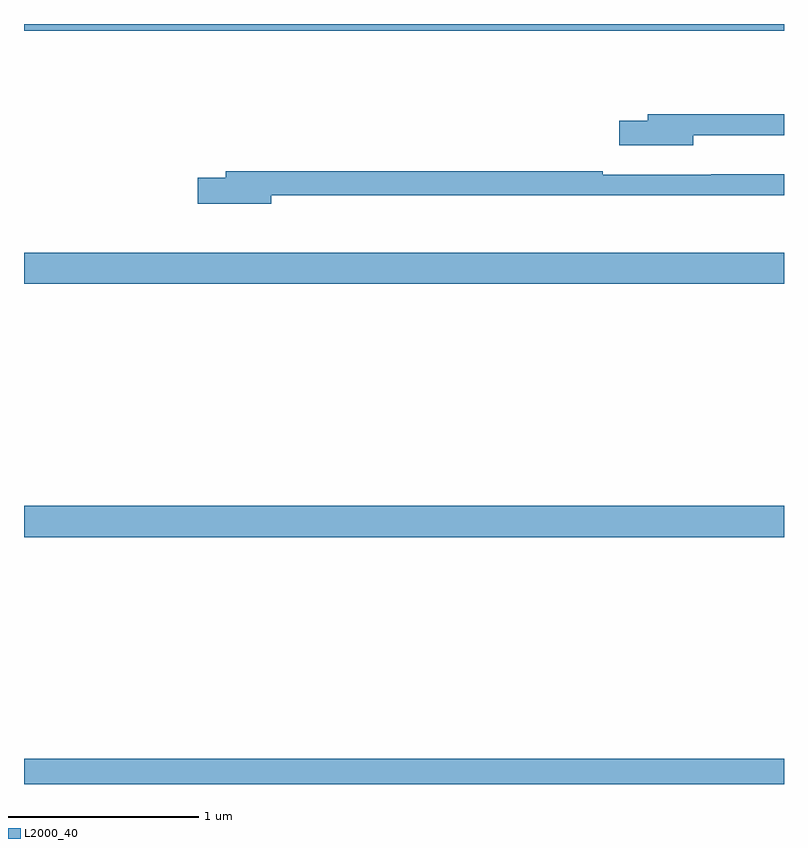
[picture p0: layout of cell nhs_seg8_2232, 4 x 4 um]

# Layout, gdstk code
import gdstk
lib = gdstk.Library(unit=1e-6, precision=1e-09)
def R(c, l, rs):  # rectangles x0, y0, x1, y1
    for r in rs: c.add(gdstk.rectangle(r[:2], r[2:], *l))
def P(c, l, *ps):  # polygons
    for p in ps: c.add(gdstk.Polygon(p, *l))
L2000_40 = (2000, 40)

nhs_seg8_2232 = lib.new_cell('nhs_seg8_2232')
R(nhs_seg8_2232, L2000_40, [(253,1081.9,257,1082.032), (253,1083.2,257,1083.364), (253,1084.532,257,1084.696), (253,1085.864,257,1085.9)])
P(nhs_seg8_2232, L2000_40, [(256.522,1085.315),(257,1085.315),(257,1085.425),(256.283,1085.425),(256.283,1085.391),(256.134,1085.391),(256.134,1085.261),(256.522,1085.261)],
  [(254.302,1084.998),(257,1084.998),(257,1085.108),(256.618,1085.108),(256.618,1085.107),(256.046,1085.107),(256.046,1085.126),(254.063,1085.126),(254.063,1085.09),(253.914,1085.09),(253.914,1084.955),(254.302,1084.955)])

lib.write_gds('nhs_seg8_2232.gds')
